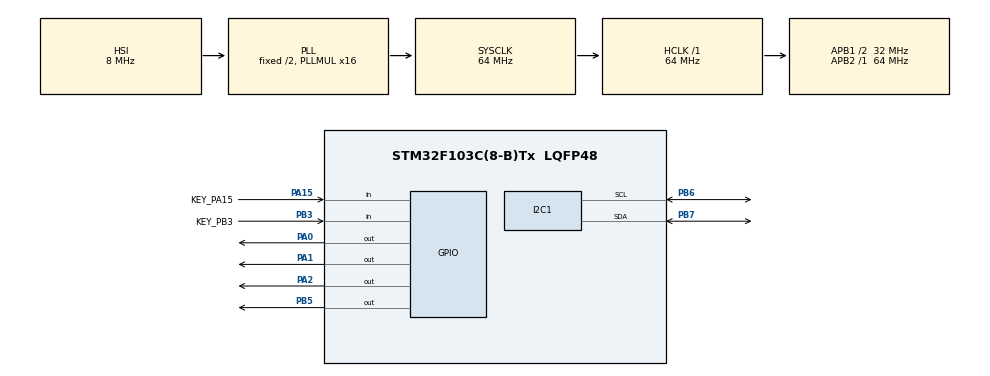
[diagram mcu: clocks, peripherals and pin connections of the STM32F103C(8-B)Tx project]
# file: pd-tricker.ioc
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I2C1.I2C_Mode=I2C_Standard
Mcu.Family=STM32F1
Mcu.Name=STM32F103C(8-B)Tx
Mcu.Package=LQFP48
NVIC.PriorityGroup=NVIC_PRIORITYGROUP_4
NVIC.TIM3_IRQn=true\:0\:0\:false\:false\:true\:true\:true\:true
PA0-WKUP.GPIO_ModeDefaultOutputPP=GPIO_MODE_OUTPUT_PP
PA0-WKUP.GPIO_PuPd=GPIO_NOPULL
PA0-WKUP.GPIO_Speed=GPIO_SPEED_FREQ_HIGH
PA0-WKUP.Signal=GPIO_Output
PA1.GPIO_Speed=GPIO_SPEED_FREQ_HIGH
PA1.Signal=GPIO_Output
PA13.Mode=Serial_Wire
PA13.Signal=SYS_JTMS-SWDIO
PA14.Mode=Serial_Wire
PA14.Signal=SYS_JTCK-SWCLK
PA15.GPIO_Label=KEY_PA15
PA15.GPIO_PuPd=GPIO_NOPULL
PA15.Signal=GPIO_Input
PA2.GPIO_Speed=GPIO_SPEED_FREQ_HIGH
PA2.Signal=GPIO_Output
PB3.GPIO_Label=KEY_PB3
PB3.GPIO_PuPd=GPIO_PULLUP
PB3.Signal=GPIO_Input
PB5.GPIO_PuPd=GPIO_PULLDOWN
PB5.Signal=GPIO_Output
PB6.Mode=I2C
PB6.Signal=I2C1_SCL
PB7.Mode=I2C
PB7.Signal=I2C1_SDA
ProjectManager.HeapSize=0x200
ProjectManager.StackSize=0x400
ProjectManager.TargetToolchain=CMake
RCC.AHBFreq_Value=64000000
RCC.APB1CLKDivider=RCC_HCLK_DIV2
RCC.APB1Freq_Value=32000000
RCC.APB1TimFreq_Value=64000000
RCC.APB2Freq_Value=64000000
RCC.APB2TimFreq_Value=64000000
RCC.HCLKFreq_Value=64000000
RCC.PLLMUL=RCC_PLL_MUL16
RCC.SYSCLKFreq_VALUE=64000000
RCC.SYSCLKSource=RCC_SYSCLKSOURCE_PLLCLK
RCC.USBFreq_Value=64000000
TIM3.Period=2000-1
TIM3.Prescaler=720-1
VP_TIM3_VS_ClockSourceINT.Mode=Internal
board=custom

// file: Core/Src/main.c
/* USER CODE BEGIN Header */
/**
  ******************************************************************************
  * @file           : main.c
  * @brief          : Main program body
  ******************************************************************************
  * @attention
  *
  * Copyright (c) 2025 STMicroelectronics.
  * All rights reserved.
  *
  * This software is licensed under terms that can be found in the LICENSE file
  * in the root directory of this software component.
  * If no LICENSE file comes with this software, it is provided AS-IS.
  *
  ******************************************************************************
  */
/* USER CODE END Header */
#include "main.h"

/* USER CODE BEGIN Includes */

#include "ina226.h"
#include "ch224.h"
#include "key.h"
#include "oled.h"
#include "oled_ui.h"

/* USER CODE END Includes */

/* USER CODE BEGIN PD */
INA226 CC;
u8g2_t u8g2;

/* USER CODE END PD */

I2C_HandleTypeDef hi2c1;
TIM_HandleTypeDef htim3;

void SystemClock_Config(void);
static void MX_GPIO_Init(void);
static void MX_I2C1_Init(void);
static void MX_TIM3_Init(void);

/* USER CODE BEGIN 0 */
void HAL_TIM_PeriodElapsedCallback(TIM_HandleTypeDef *htim) {
	uint16_t cur=0;
	if (htim->Instance == TIM3) {  // 确保�????????? TIM3 触发的中�?????????
		CC.TestTime++;
		cur = INA226_GetShuntCurrent();//获取电流�????????
		if(cur&0x8000)
		{
			cur = ~(cur - 1);
			CC.current_signed=0;
		}
		else
		{
			CC.current_signed=1;
			CC.capacity += cur;//累加电流�????????(mA)(不统计反向电流电�????????)
		}
		CC.voltage = INA226_GetVoltage()/800.0f;//更新电压�????????
		CC.current = cur/1000.0f;
		CC.power = INA226_Get_Power()/40.0f;//获取功率�????????
	}
}
/* USER CODE END 0 */

int voltage_levels[] = {5, 9, 12,20};
int current_index = 0;  // 初始 5V（数组索引 0）
void adjust_voltage() {
	char key = key_scan();
	switch (key) {
		case 'A': // 增加电压
			if (current_index < 3) {
				current_index++;
				set_voltage(voltage_levels[current_index]);
			}
			break;
		case 'B': // 减少电压
			if (current_index > 0) {
				current_index--;
				set_voltage(voltage_levels[current_index]);
			}
			break;
		default:
			break;
	}
}

int main(void)
{

  /* MCU Configuration--------------------------------------------------------*/

  /* Reset of all peripherals, Initializes the Flash interface and the Systick. */
  HAL_Init();

  /* Configure the system clock */
  SystemClock_Config();

  /* Initialize all configured peripherals */
  MX_GPIO_Init();
  MX_I2C1_Init();
  MX_TIM3_Init();
  /* USER CODE BEGIN 2 */
  HAL_TIM_Base_Start_IT(&htim3);
  key_init();
  ch224_init();
  INA226_Init();
  u8g2_init(&u8g2);

  Static_UI();
  /* USER CODE END 2 */
  /* Infinite loop */
  /* USER CODE BEGIN WHILE */

  while (1)
  {
	  flash_ui();
	  HAL_Delay(30);    /* USER CODE END WHILE */
	  adjust_voltage();
  }
}

void SystemClock_Config(void)
{
  RCC_OscInitTypeDef RCC_OscInitStruct = {0};
  RCC_ClkInitTypeDef RCC_ClkInitStruct = {0};

  /** Initializes the RCC Oscillators according to the specified parameters
  * in the RCC_OscInitTypeDef structure.
  */
  RCC_OscInitStruct.OscillatorType = RCC_OSCILLATORTYPE_HSI;
  RCC_OscInitStruct.HSIState = RCC_HSI_ON;
  RCC_OscInitStruct.HSICalibrationValue = RCC_HSICALIBRATION_DEFAULT;
  RCC_OscInitStruct.PLL.PLLState = RCC_PLL_ON;
  RCC_OscInitStruct.PLL.PLLSource = RCC_PLLSOURCE_HSI_DIV2;
  RCC_OscInitStruct.PLL.PLLMUL = RCC_PLL_MUL16;
  if (HAL_RCC_OscConfig(&RCC_OscInitStruct) != HAL_OK)
  {
    Error_Handler();
  }

  /** Initializes the CPU, AHB and APB buses clocks
  */
  RCC_ClkInitStruct.ClockType = RCC_CLOCKTYPE_HCLK|RCC_CLOCKTYPE_SYSCLK
                              |RCC_CLOCKTYPE_PCLK1|RCC_CLOCKTYPE_PCLK2;
  RCC_ClkInitStruct.SYSCLKSource = RCC_SYSCLKSOURCE_PLLCLK;
  RCC_ClkInitStruct.AHBCLKDivider = RCC_SYSCLK_DIV1;
  RCC_ClkInitStruct.APB1CLKDivider = RCC_HCLK_DIV2;
  RCC_ClkInitStruct.APB2CLKDivider = RCC_HCLK_DIV1;

  if (HAL_RCC_ClockConfig(&RCC_ClkInitStruct, FLASH_LATENCY_2) != HAL_OK)
  {
    Error_Handler();
  }
}

static void MX_I2C1_Init(void)
{

  hi2c1.Instance = I2C1;
  hi2c1.Init.ClockSpeed = 100000;
  hi2c1.Init.DutyCycle = I2C_DUTYCYCLE_2;
  hi2c1.Init.OwnAddress1 = 0;
  hi2c1.Init.AddressingMode = I2C_ADDRESSINGMODE_7BIT;
  hi2c1.Init.DualAddressMode = I2C_DUALADDRESS_DISABLE;
  hi2c1.Init.OwnAddress2 = 0;
  hi2c1.Init.GeneralCallMode = I2C_GENERALCALL_DISABLE;
  hi2c1.Init.NoStretchMode = I2C_NOSTRETCH_DISABLE;
  if (HAL_I2C_Init(&hi2c1) != HAL_OK)
  {
    Error_Handler();
  }
  /* USER CODE BEGIN I2C1_Init 2 */
	//	__HAL_RCC_AFIO_CLK_ENABLE();  // 启用 AFIO 时钟
//	__HAL_AFIO_REMAP_I2C1_DISABLE();  // 禁用 I2C1 重新映射
  //reset oled
//	HAL_GPIO_WritePin(GPIOB, GPIO_PIN_5, GPIO_PIN_SET);
//	HAL_Delay(1);  // 寤舵�?????????1ms
//	HAL_GPIO_WritePin(GPIOB, GPIO_PIN_5, GPIO_PIN_RESET);
//	HAL_Delay(1);  // 寤舵�?????????1ms
//	HAL_GPIO_WritePin(GPIOB, GPIO_PIN_5, GPIO_PIN_SET);
//	HAL_Delay(1);  // 寤舵�?????????1ms
  /* USER CODE END I2C1_Init 2 */

}

static void MX_TIM3_Init(void)
{

  TIM_ClockConfigTypeDef sClockSourceConfig = {0};
  TIM_MasterConfigTypeDef sMasterConfig = {0};

  htim3.Instance = TIM3;
  htim3.Init.Prescaler = 720-1;
  htim3.Init.CounterMode = TIM_COUNTERMODE_UP;
  htim3.Init.Period = 2000-1;
  htim3.Init.ClockDivision = TIM_CLOCKDIVISION_DIV1;
  htim3.Init.AutoReloadPreload = TIM_AUTORELOAD_PRELOAD_DISABLE;
  if (HAL_TIM_Base_Init(&htim3) != HAL_OK)
  {
    Error_Handler();
  }
  sClockSourceConfig.ClockSource = TIM_CLOCKSOURCE_INTERNAL;
  if (HAL_TIM_ConfigClockSource(&htim3, &sClockSourceConfig) != HAL_OK)
  {
    Error_Handler();
  }
  sMasterConfig.MasterOutputTrigger = TIM_TRGO_RESET;
  sMasterConfig.MasterSlaveMode = TIM_MASTERSLAVEMODE_DISABLE;
  if (HAL_TIMEx_MasterConfigSynchronization(&htim3, &sMasterConfig) != HAL_OK)
  {
    Error_Handler();
  }

}

static void MX_GPIO_Init(void)
{
  GPIO_InitTypeDef GPIO_InitStruct = {0};

  /* GPIO Ports Clock Enable */
  __HAL_RCC_GPIOA_CLK_ENABLE();
  __HAL_RCC_GPIOB_CLK_ENABLE();

  /*Configure GPIO pin Output Level */
  HAL_GPIO_WritePin(GPIOA, GPIO_PIN_0|GPIO_PIN_1|GPIO_PIN_2, GPIO_PIN_RESET);

  /*Configure GPIO pin Output Level */
  HAL_GPIO_WritePin(GPIOB, GPIO_PIN_5, GPIO_PIN_RESET);

  /*Configure GPIO pins : PA0 PA1 PA2 */
  GPIO_InitStruct.Pin = GPIO_PIN_0|GPIO_PIN_1|GPIO_PIN_2;
  GPIO_InitStruct.Mode = GPIO_MODE_OUTPUT_PP;
  GPIO_InitStruct.Pull = GPIO_NOPULL;
  GPIO_InitStruct.Speed = GPIO_SPEED_FREQ_HIGH;
  HAL_GPIO_Init(GPIOA, &GPIO_InitStruct);

  /*Configure GPIO pin : KEY_PA15_Pin */
  GPIO_InitStruct.Pin = KEY_PA15_Pin;
  GPIO_InitStruct.Mode = GPIO_MODE_INPUT;
  GPIO_InitStruct.Pull = GPIO_NOPULL;
  HAL_GPIO_Init(KEY_PA15_GPIO_Port, &GPIO_InitStruct);

  /*Configure GPIO pin : KEY_PB3_Pin */
  GPIO_InitStruct.Pin = KEY_PB3_Pin;
  GPIO_InitStruct.Mode = GPIO_MODE_INPUT;
  GPIO_InitStruct.Pull = GPIO_PULLUP;
  HAL_GPIO_Init(KEY_PB3_GPIO_Port, &GPIO_InitStruct);

  /*Configure GPIO pin : PB5 */
  GPIO_InitStruct.Pin = GPIO_PIN_5;
  GPIO_InitStruct.Mode = GPIO_MODE_OUTPUT_PP;
  GPIO_InitStruct.Pull = GPIO_PULLDOWN;
  GPIO_InitStruct.Speed = GPIO_SPEED_FREQ_LOW;
  HAL_GPIO_Init(GPIOB, &GPIO_InitStruct);

}

void Error_Handler(void)
{
  __disable_irq();
  while (1)
  {
  }
}
